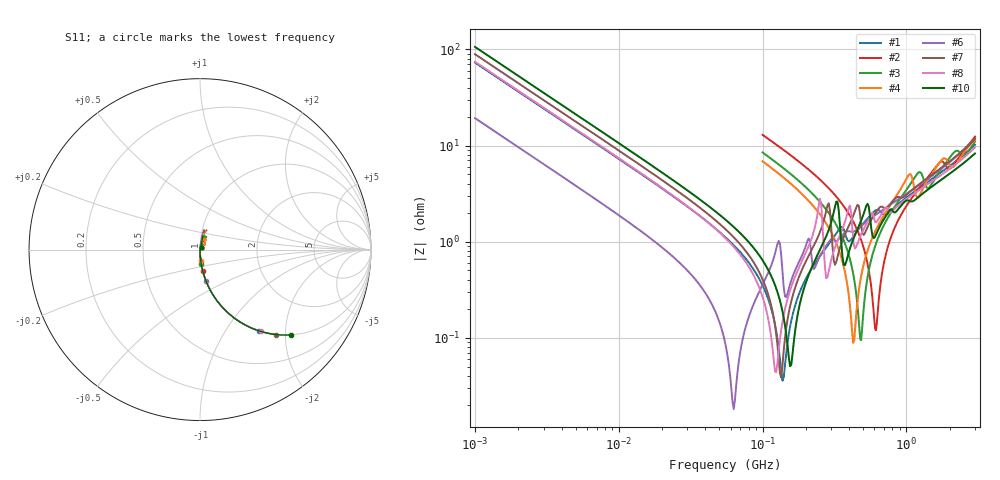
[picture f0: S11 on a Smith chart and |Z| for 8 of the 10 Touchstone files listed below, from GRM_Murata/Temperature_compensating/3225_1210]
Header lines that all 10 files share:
!These Parameters are Measured in Series Mode Connection
!Data Generated on Mar 30, 2021
!  o--ll--o
!Port1  Port2
!  o------o
!Operation Temp=25[degC], DC Bias Voltage=0[V]
# Hz S RI R 50
!Freq.(Hz) S11(Real) S11(Imag) S21(Real) S21(Imag) S12(Real) S12(Imag) S22(Real) S22(Imag)
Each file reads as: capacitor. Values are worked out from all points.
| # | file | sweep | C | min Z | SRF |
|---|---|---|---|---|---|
| 1 | GRM32A7U2J222JW31.s2p | 1 MHz to 3 GHz | 2.18 nF | 35.6 mohm | 138.3 MHz |
| 2 | GRM32A7U3D121JW31.s2p | 100 MHz to 3 GHz | 120 pF | 120 mohm | 612.1 MHz |
| 3 | GRM32B7U3D181JW31.s2p | 100 MHz to 3 GHz | 180 pF | 94 mohm | 481.6 MHz |
| 4 | GRM32B7U3D221JW31.s2p | 100 MHz to 3 GHz | 219 pF | 88.4 mohm | 429.1 MHz |
| 5 | GRM32D7U2J103JW31.s2p | 1 MHz to 3 GHz | 9.94 nF | 24.7 mohm | 56.2 MHz |
| 6 | GRM32D7U2J822JW31.s2p | 1 MHz to 3 GHz | 8.25 nF | 18 mohm | 62.97 MHz |
| 7 | GRM32D7U3A182JW31.s2p | 1 MHz to 3 GHz | 1.78 nF | 38.4 mohm | 134.1 MHz |
| 8 | GRM32D7U3A222JW31.s2p | 1 MHz to 3 GHz | 2.14 nF | 43.5 mohm | 123.6 MHz |
| 9 | GRM32E7U2J153JW32.s2p | 1 MHz to 3 GHz | 14.7 nF | 14.8 mohm | 43.83 MHz |
| 10 | GRM32Q7U3A152JW31.s2p | 1 MHz to 3 GHz | 1.5 nF | 50.5 mohm | 156.6 MHz |
